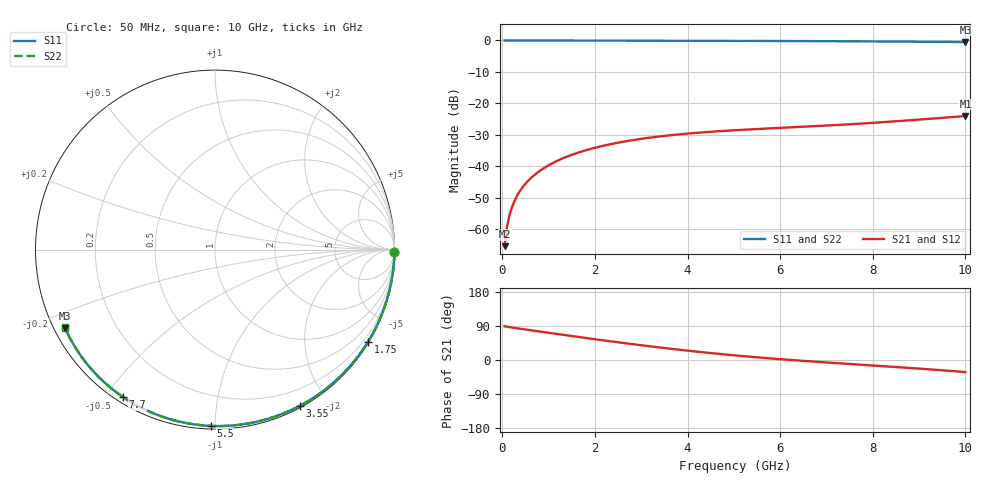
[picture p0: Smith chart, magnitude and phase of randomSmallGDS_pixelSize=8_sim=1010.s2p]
! freq	dB(S11)	phase(S11)	dB(S12)	phase(S12)
!  dB(S21)	phase(S21)	dB(S22)	phase(S22)
!S-par simulation data
#  GHz  S  DB  R 50
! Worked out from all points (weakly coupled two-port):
!   200 points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, 50 MHz to 10 GHz, reference 50 ohm
!   highest |S21| = -24.03 dB at 10 GHz (marker M1); lowest = -65.4 dB at 50 MHz (marker M2)
!   lowest |S11| = -0.5 dB at 10 GHz (marker M3), VSWR 34.11, Z = 1.55 - j12.2 ohm
!   |S11| at or under -10 dB: nowhere
!   |S22| runs from -0.5 to 0.0 dB; largest |S21 - S12| = 0
!   S11 on the Smith chart (normalised r, x): 50 MHz: open; 1.75 GHz: 0.03, -3.59; 3.55 GHz: 0.02, -1.69; 5.5 GHz: 0.02, -0.98; 7.7 GHz: 0.02, -0.55; 10 GHz: 0.03, -0.24
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0.05  -0.00 -0.9  -65.41 88.9  -65.41 88.9  -0.00 -0.9
0.1  -0.00 -1.8  -59.40 87.9  -59.40 87.9  -0.00 -1.8
0.15  -0.00 -2.7  -55.89 86.9  -55.89 86.9  -0.00 -2.7
0.2  -0.00 -3.6  -53.41 85.9  -53.41 85.9  -0.00 -3.6
0.25  -0.00 -4.5  -51.49 85.0  -51.49 85.0  -0.00 -4.5
0.35  -0.00 -6.3  -48.61 83.2  -48.61 83.2  -0.00 -6.3
0.5  -0.01 -9.0  -45.56 80.5  -45.56 80.5  -0.01 -9.0
0.7  -0.01 -12.6  -42.69 77.0  -42.69 77.0  -0.01 -12.6
1  -0.02 -18.0  -39.69 71.8  -39.69 71.8  -0.02 -17.9
1.35  -0.03 -24.2  -37.21 65.8  -37.21 65.8  -0.03 -24.1
1.75  -0.04 -31.2  -35.14 59.0  -35.14 59.0  -0.04 -31.1
2.5  -0.06 -44.0  -32.50 46.7  -32.50 46.7  -0.06 -44.0
3.4  -0.08 -58.9  -30.51 33.0  -30.51 33.0  -0.08 -58.9
3.55  -0.09 -61.4  -30.26 30.8  -30.26 30.8  -0.09 -61.3
4.3  -0.11 -73.2  -29.25 20.8  -29.25 20.8  -0.11 -73.2
5.05  -0.13 -84.6  -28.52 11.8  -28.52 11.8  -0.13 -84.6
5.5  -0.15 -91.3  -28.16 7.0  -28.16 7.0  -0.15 -91.2
6.7  -0.21 -108.3  -27.30 -4.0  -27.30 -4.0  -0.21 -108.4
7.7  -0.28 -122.0  -26.48 -12.0  -26.48 -12.0  -0.28 -122.0
8.35  -0.33 -130.6  -25.86 -17.2  -25.86 -17.2  -0.34 -130.8
9.2  -0.42 -141.9  -24.95 -24.4  -24.95 -24.4  -0.42 -142.1
10  -0.51 -152.5  -24.03 -31.9  -24.03 -31.9  -0.51 -152.8
